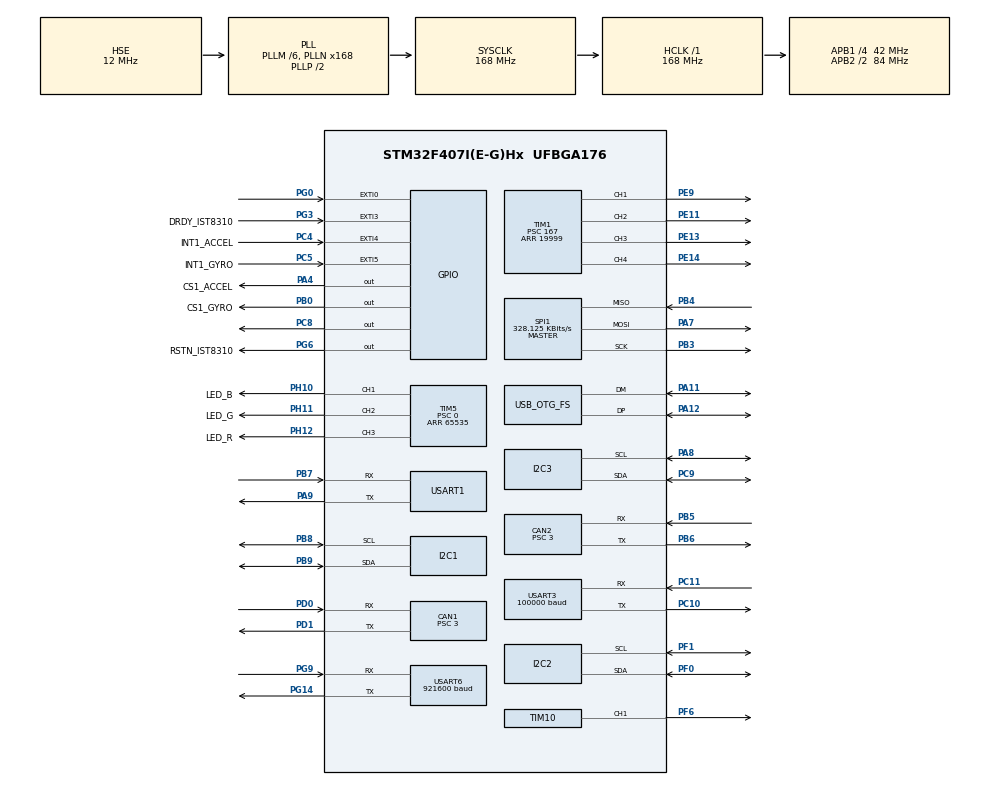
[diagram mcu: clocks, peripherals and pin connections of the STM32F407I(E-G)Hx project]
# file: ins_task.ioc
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CAN1.BS1=CAN_BS1_10TQ
CAN1.BS2=CAN_BS2_3TQ
CAN1.CalculateBaudRate=1000000
CAN1.CalculateTimeBit=999.99
CAN1.CalculateTimeQuantum=71.42857142857143
CAN1.Prescaler=3
CAN2.BS1=CAN_BS1_10TQ
CAN2.BS2=CAN_BS2_3TQ
CAN2.CalculateBaudRate=1000000
CAN2.CalculateTimeBit=999.99
CAN2.CalculateTimeQuantum=71.42857142857143
CAN2.Prescaler=3
Dma.I2C2_TX.6.Direction=DMA_MEMORY_TO_PERIPH
Dma.I2C2_TX.6.FIFOMode=DMA_FIFOMODE_DISABLE
Dma.I2C2_TX.6.Instance=DMA1_Stream7
Dma.I2C2_TX.6.MemDataAlignment=DMA_MDATAALIGN_BYTE
Dma.I2C2_TX.6.MemInc=DMA_MINC_ENABLE
Dma.I2C2_TX.6.Mode=DMA_NORMAL
Dma.I2C2_TX.6.PeriphDataAlignment=DMA_PDATAALIGN_BYTE
Dma.I2C2_TX.6.PeriphInc=DMA_PINC_DISABLE
Dma.I2C2_TX.6.Priority=DMA_PRIORITY_HIGH
Dma.Request0=SPI1_RX
Dma.Request1=SPI1_TX
Dma.Request2=USART1_TX
Dma.Request3=USART3_RX
Dma.Request4=USART6_RX
Dma.Request5=USART6_TX
Dma.Request6=I2C2_TX
Dma.Request7=USART1_RX
Dma.SPI1_RX.0.Direction=DMA_PERIPH_TO_MEMORY
Dma.SPI1_RX.0.FIFOMode=DMA_FIFOMODE_DISABLE
Dma.SPI1_RX.0.Instance=DMA2_Stream2
Dma.SPI1_RX.0.MemDataAlignment=DMA_MDATAALIGN_BYTE
Dma.SPI1_RX.0.MemInc=DMA_MINC_ENABLE
Dma.SPI1_RX.0.Mode=DMA_NORMAL
Dma.SPI1_RX.0.PeriphDataAlignment=DMA_PDATAALIGN_BYTE
Dma.SPI1_RX.0.PeriphInc=DMA_PINC_DISABLE
Dma.SPI1_RX.0.Priority=DMA_PRIORITY_VERY_HIGH
Dma.SPI1_TX.1.Direction=DMA_MEMORY_TO_PERIPH
Dma.SPI1_TX.1.FIFOMode=DMA_FIFOMODE_DISABLE
Dma.SPI1_TX.1.Instance=DMA2_Stream3
Dma.SPI1_TX.1.MemDataAlignment=DMA_MDATAALIGN_BYTE
Dma.SPI1_TX.1.MemInc=DMA_MINC_ENABLE
Dma.SPI1_TX.1.Mode=DMA_NORMAL
Dma.SPI1_TX.1.PeriphDataAlignment=DMA_PDATAALIGN_BYTE
Dma.SPI1_TX.1.PeriphInc=DMA_PINC_DISABLE
Dma.SPI1_TX.1.Priority=DMA_PRIORITY_HIGH
Dma.USART1_RX.7.Direction=DMA_PERIPH_TO_MEMORY
Dma.USART1_RX.7.FIFOMode=DMA_FIFOMODE_DISABLE
Dma.USART1_RX.7.Instance=DMA2_Stream5
Dma.USART1_RX.7.MemDataAlignment=DMA_MDATAALIGN_BYTE
Dma.USART1_RX.7.MemInc=DMA_MINC_ENABLE
Dma.USART1_RX.7.Mode=DMA_NORMAL
Dma.USART1_RX.7.PeriphDataAlignment=DMA_PDATAALIGN_BYTE
Dma.USART1_RX.7.PeriphInc=DMA_PINC_DISABLE
Dma.USART1_RX.7.Priority=DMA_PRIORITY_MEDIUM
Dma.USART1_TX.2.Direction=DMA_MEMORY_TO_PERIPH
Dma.USART1_TX.2.FIFOMode=DMA_FIFOMODE_DISABLE
Dma.USART1_TX.2.Instance=DMA2_Stream7
Dma.USART1_TX.2.MemDataAlignment=DMA_MDATAALIGN_BYTE
Dma.USART1_TX.2.MemInc=DMA_MINC_ENABLE
Dma.USART1_TX.2.Mode=DMA_NORMAL
Dma.USART1_TX.2.PeriphDataAlignment=DMA_PDATAALIGN_BYTE
Dma.USART1_TX.2.PeriphInc=DMA_PINC_DISABLE
Dma.USART1_TX.2.Priority=DMA_PRIORITY_MEDIUM
Dma.USART3_RX.3.Direction=DMA_PERIPH_TO_MEMORY
Dma.USART3_RX.3.FIFOMode=DMA_FIFOMODE_DISABLE
Dma.USART3_RX.3.Instance=DMA1_Stream1
Dma.USART3_RX.3.MemDataAlignment=DMA_MDATAALIGN_BYTE
Dma.USART3_RX.3.MemInc=DMA_MINC_ENABLE
Dma.USART3_RX.3.Mode=DMA_NORMAL
Dma.USART3_RX.3.PeriphDataAlignment=DMA_PDATAALIGN_BYTE
Dma.USART3_RX.3.PeriphInc=DMA_PINC_DISABLE
Dma.USART3_RX.3.Priority=DMA_PRIORITY_HIGH
Dma.USART6_RX.4.Direction=DMA_PERIPH_TO_MEMORY
Dma.USART6_RX.4.FIFOMode=DMA_FIFOMODE_DISABLE
Dma.USART6_RX.4.Instance=DMA2_Stream1
Dma.USART6_RX.4.MemDataAlignment=DMA_MDATAALIGN_BYTE
Dma.USART6_RX.4.MemInc=DMA_MINC_ENABLE
Dma.USART6_RX.4.Mode=DMA_NORMAL
Dma.USART6_RX.4.PeriphDataAlignment=DMA_PDATAALIGN_BYTE
Dma.USART6_RX.4.PeriphInc=DMA_PINC_DISABLE
Dma.USART6_RX.4.Priority=DMA_PRIORITY_MEDIUM
Dma.USART6_TX.5.Direction=DMA_MEMORY_TO_PERIPH
Dma.USART6_TX.5.FIFOMode=DMA_FIFOMODE_DISABLE
Dma.USART6_TX.5.Instance=DMA2_Stream6
Dma.USART6_TX.5.MemDataAlignment=DMA_MDATAALIGN_BYTE
Dma.USART6_TX.5.MemInc=DMA_MINC_ENABLE
Dma.USART6_TX.5.Mode=DMA_NORMAL
Dma.USART6_TX.5.PeriphDataAlignment=DMA_PDATAALIGN_BYTE
Dma.USART6_TX.5.PeriphInc=DMA_PINC_DISABLE
Dma.USART6_TX.5.Priority=DMA_PRIORITY_MEDIUM
FREERTOS.INCLUDE_eTaskGetState=1
FREERTOS.INCLUDE_pcTaskGetTaskName=1
FREERTOS.INCLUDE_uxTaskGetStackHighWaterMark=1
FREERTOS.INCLUDE_vTaskCleanUpResources=1
FREERTOS.INCLUDE_vTaskDelayUntil=1
FREERTOS.INCLUDE_xEventGroupSetBitFromISR=1
FREERTOS.INCLUDE_xQueueGetMutexHolder=1
FREERTOS.INCLUDE_xSemaphoreGetMutexHolder=1
FREERTOS.INCLUDE_xTaskAbortDelay=1
FREERTOS.INCLUDE_xTaskGetCurrentTaskHandle=1
FREERTOS.INCLUDE_xTaskGetHandle=1
FREERTOS.INCLUDE_xTimerPendFunctionCall=1
FREERTOS.Tasks01=test,24,128,test_task,As weak,NULL,Dynamic,NULL,NULL
FREERTOS.configTOTAL_HEAP_SIZE=24576
I2C1.I2C_Mode=I2C_Fast
I2C2.I2C_Mode=I2C_Fast
I2C3.I2C_Mode=I2C_Fast
Mcu.Family=STM32F4
Mcu.Name=STM32F407I(E-G)Hx
Mcu.Package=UFBGA176
NVIC.CAN1_RX0_IRQn=true\:5\:0\:false\:false\:true\:true\:true\:true
NVIC.CAN2_RX0_IRQn=true\:5\:0\:false\:false\:true\:true\:true\:true
NVIC.DMA1_Stream1_IRQn=true\:5\:0\:false\:false\:true\:true\:false\:true
NVIC.DMA1_Stream7_IRQn=true\:5\:0\:false\:false\:true\:true\:false\:true
NVIC.DMA2_Stream1_IRQn=true\:5\:0\:false\:false\:true\:true\:false\:true
NVIC.DMA2_Stream2_IRQn=true\:5\:0\:true\:false\:false\:true\:false\:true
NVIC.DMA2_Stream3_IRQn=true\:5\:0\:true\:false\:false\:true\:false\:true
NVIC.DMA2_Stream5_IRQn=true\:5\:0\:false\:false\:true\:true\:false\:true
NVIC.DMA2_Stream6_IRQn=true\:5\:0\:false\:false\:true\:true\:false\:true
NVIC.DMA2_Stream7_IRQn=true\:5\:0\:false\:false\:true\:true\:false\:true
NVIC.EXTI0_IRQn=true\:6\:0\:true\:false\:true\:true\:true\:true
NVIC.EXTI3_IRQn=true\:5\:0\:true\:false\:true\:true\:true\:true
NVIC.EXTI4_IRQn=true\:5\:0\:true\:false\:true\:true\:true\:true
NVIC.EXTI9_5_IRQn=true\:5\:0\:true\:false\:true\:true\:true\:true
NVIC.OTG_FS_IRQn=true\:5\:0\:false\:false\:true\:true\:true\:true
NVIC.PriorityGroup=NVIC_PRIORITYGROUP_4
NVIC.TIM8_TRG_COM_TIM14_IRQn=true\:15\:0\:false\:false\:true\:false\:false\:true
NVIC.TimeBase=TIM8_TRG_COM_TIM14_IRQn
NVIC.TimeBaseIP=TIM14
NVIC.USART1_IRQn=true\:5\:0\:false\:false\:true\:true\:true\:true
NVIC.USART3_IRQn=true\:5\:0\:false\:false\:true\:true\:true\:true
NVIC.USART6_IRQn=true\:5\:0\:false\:false\:true\:true\:true\:true
PA11.Mode=Device_Only
PA11.Signal=USB_OTG_FS_DM
PA12.Mode=Device_Only
PA12.Signal=USB_OTG_FS_DP
PA13.Mode=Serial_Wire
PA13.Signal=SYS_JTMS-SWDIO
PA14.Mode=Serial_Wire
PA14.Signal=SYS_JTCK-SWCLK
PA4.GPIO_Label=CS1_ACCEL
PA4.GPIO_PuPd=GPIO_PULLUP
PA4.GPIO_Speed=GPIO_SPEED_FREQ_HIGH
PA4.PinState=GPIO_PIN_SET
PA4.Signal=GPIO_Output
PA7.GPIO_PuPd=GPIO_PULLUP
PA7.Mode=Full_Duplex_Master
PA7.Signal=SPI1_MOSI
PA8.GPIO_Pu=GPIO_PULLUP
PA8.Mode=I2C
PA8.Signal=I2C3_SCL
PA9.Mode=Asynchronous
PA9.Signal=USART1_TX
PB0.GPIO_Label=CS1_GYRO
PB0.GPIO_PuPd=GPIO_PULLUP
PB0.GPIO_Speed=GPIO_SPEED_FREQ_HIGH
PB0.PinState=GPIO_PIN_SET
PB0.Signal=GPIO_Output
PB3.GPIO_PuPd=GPIO_PULLUP
PB3.Mode=Full_Duplex_Master
PB3.Signal=SPI1_SCK
PB4.GPIO_PuPd=GPIO_PULLUP
PB4.Mode=Full_Duplex_Master
PB4.Signal=SPI1_MISO
PB5.Mode=CAN_Activate
PB5.Signal=CAN2_RX
PB6.Mode=CAN_Activate
PB6.Signal=CAN2_TX
PB7.Mode=Asynchronous
PB7.Signal=USART1_RX
PB8.GPIO_Pu=GPIO_PULLUP
PB8.Mode=I2C
PB8.Signal=I2C1_SCL
PB9.GPIO_Pu=GPIO_PULLUP
PB9.Mode=I2C
PB9.Signal=I2C1_SDA
PC10.Mode=Asynchronous
PC10.Signal=USART3_TX
PC11.Mode=Asynchronous
PC11.Signal=USART3_RX
PC4.GPIO_Label=INT1_ACCEL
PC4.GPIO_ModeDefaultEXTI=GPIO_MODE_IT_FALLING
PC4.GPIO_PuPd=GPIO_PULLUP
PC4.Signal=GPXTI4
PC5.GPIO_Label=INT1_GYRO
PC5.GPIO_ModeDefaultEXTI=GPIO_MODE_IT_FALLING
PC5.GPIO_PuPd=GPIO_PULLUP
PC5.Signal=GPXTI5
PC8.Signal=GPIO_Output
PC9.GPIO_Pu=GPIO_PULLUP
PC9.Mode=I2C
PC9.Signal=I2C3_SDA
PD0.Mode=CAN_Activate
PD0.Signal=CAN1_RX
PD1.Mode=CAN_Activate
PD1.Signal=CAN1_TX
PE11.GPIO_Speed=GPIO_SPEED_FREQ_HIGH
PE11.Signal=S_TIM1_CH2
PE13.Signal=S_TIM1_CH3
PE14.Signal=S_TIM1_CH4
PE9.GPIO_Speed=GPIO_SPEED_FREQ_HIGH
PE9.Signal=S_TIM1_CH1
PF0.GPIO_Pu=GPIO_PULLUP
PF0.Mode=I2C
PF0.Signal=I2C2_SDA
PF1.GPIO_Pu=GPIO_PULLUP
PF1.Mode=I2C
PF1.Signal=I2C2_SCL
PF6.GPIO_PuPd=GPIO_PULLUP
PF6.GPIO_Speed=GPIO_SPEED_FREQ_HIGH
PF6.Signal=S_TIM10_CH1
PG0.GPIO_ModeDefaultEXTI=GPIO_MODE_IT_FALLING
PG0.GPIO_PuPd=GPIO_PULLUP
PG0.Signal=GPXTI0
PG14.Mode=Asynchronous
PG14.Signal=USART6_TX
PG3.GPIO_Label=DRDY_IST8310
PG3.GPIO_ModeDefaultEXTI=GPIO_MODE_IT_FALLING
PG3.GPIO_PuPd=GPIO_PULLUP
PG3.Signal=GPXTI3
PG6.GPIO_Label=RSTN_IST8310
PG6.GPIO_PuPd=GPIO_PULLUP
PG6.GPIO_Speed=GPIO_SPEED_FREQ_MEDIUM
PG6.PinState=GPIO_PIN_SET
PG6.Signal=GPIO_Output
PG9.Mode=Asynchronous
PG9.Signal=USART6_RX
PH0-OSC_IN.Mode=HSE-External-Oscillator
PH0-OSC_IN.Signal=RCC_OSC_IN
PH1-OSC_OUT.Mode=HSE-External-Oscillator
PH1-OSC_OUT.Signal=RCC_OSC_OUT
PH10.GPIO_Label=LED_B
PH10.GPIO_PuPd=GPIO_PULLUP
PH10.GPIO_Speed=GPIO_SPEED_FREQ_HIGH
PH10.Signal=S_TIM5_CH1
PH11.GPIO_Label=LED_G
PH11.GPIO_PuPd=GPIO_PULLUP
PH11.GPIO_Speed=GPIO_SPEED_FREQ_HIGH
PH11.Signal=S_TIM5_CH2
PH12.GPIO_Label=LED_R
PH12.GPIO_PuPd=GPIO_PULLUP
PH12.GPIO_Speed=GPIO_SPEED_FREQ_HIGH
PH12.Signal=S_TIM5_CH3
ProjectManager.HeapSize=0x2000
ProjectManager.StackSize=0x2000
ProjectManager.TargetToolchain=MDK-ARM V5
RCC.48MHZClocksFreq_Value=48000000
RCC.AHBFreq_Value=168000000
RCC.APB1CLKDivider=RCC_HCLK_DIV4
RCC.APB1Freq_Value=42000000
RCC.APB1TimFreq_Value=84000000
RCC.APB2CLKDivider=RCC_HCLK_DIV2
RCC.APB2Freq_Value=84000000
RCC.APB2TimFreq_Value=168000000
RCC.CortexFreq_Value=168000000
RCC.HCLKFreq_Value=168000000
RCC.HSE_VALUE=12000000
RCC.HSI_VALUE=16000000
RCC.LSE_VALUE=32768
RCC.PLLM=6
RCC.PLLN=168
RCC.PLLQ=7
RCC.RCC_RTC_Clock_SourceVirtual=RCC_RTCCLKSOURCE_HSE_DIV30
RCC.RCC_RTC_Clock_Source_FROM_HSE=RCC_RTCCLKSOURCE_HSE_DIV30
RCC.SYSCLKFreq_VALUE=168000000
RCC.SYSCLKSource=RCC_SYSCLKSOURCE_PLLCLK
RCC.VCOOutputFreq_Value=336000000
SH.S_TIM10_CH1.0=TIM10_CH1,PWM Generation1 CH1
SH.S_TIM1_CH1.0=TIM1_CH1,PWM Generation1 CH1
SH.S_TIM1_CH2.0=TIM1_CH2,PWM Generation2 CH2
SH.S_TIM1_CH3.0=TIM1_CH3,PWM Generation3 CH3
SH.S_TIM1_CH4.0=TIM1_CH4,PWM Generation4 CH4
SH.S_TIM5_CH1.0=TIM5_CH1,PWM Generation1 CH1
SH.S_TIM5_CH2.0=TIM5_CH2,PWM Generation2 CH2
SH.S_TIM5_CH3.0=TIM5_CH3,PWM Generation3 CH3
SPI1.BaudRatePrescaler=SPI_BAUDRATEPRESCALER_256
SPI1.CLKPhase=SPI_PHASE_2EDGE
SPI1.CLKPolarity=SPI_POLARITY_HIGH
SPI1.CalculateBaudRate=328.125 KBits/s
SPI1.Direction=SPI_DIRECTION_2LINES
SPI1.Mode=SPI_MODE_MASTER
SPI1.VirtualType=VM_MASTER
TIM1.Channel-PWM\ Generation1\ CH1=TIM_CHANNEL_1
TIM1.Channel-PWM\ Generation2\ CH2=TIM_CHANNEL_2
TIM1.Channel-PWM\ Generation3\ CH3=TIM_CHANNEL_3
TIM1.Channel-PWM\ Generation4\ CH4=TIM_CHANNEL_4
TIM1.Period=19999
TIM1.Prescaler=167
TIM1.Pulse-PWM\ Generation1\ CH1=1000
TIM1.Pulse-PWM\ Generation2\ CH2=1000
TIM1.Pulse-PWM\ Generation3\ CH3=1000
TIM1.Pulse-PWM\ Generation4\ CH4=1000
TIM10.Channel=TIM_CHANNEL_1
TIM10.Period=4999
TIM5.Channel-PWM\ Generation1\ CH1=TIM_CHANNEL_1
TIM5.Channel-PWM\ Generation2\ CH2=TIM_CHANNEL_2
TIM5.Channel-PWM\ Generation3\ CH3=TIM_CHANNEL_3
TIM5.Period=65535
TIM5.Prescaler=0
USART1.VirtualMode=VM_ASYNC
USART3.BaudRate=100000
USART3.Parity=PARITY_EVEN
USART3.VirtualMode=VM_ASYNC
USART6.BaudRate=921600
USART6.VirtualMode=VM_ASYNC
USB_DEVICE.CLASS_NAME_FS=CDC
USB_DEVICE.VirtualMode-CDC_FS=Cdc
USB_DEVICE.VirtualModeFS=Cdc_FS
USB_OTG_FS.VirtualMode=Device_Only
VP_CRC_VS_CRC.Mode=CRC_Activate
VP_FREERTOS_VS_CMSIS_V1.Mode=CMSIS_V1
VP_SYS_VS_tim14.Mode=TIM14
VP_TIM10_VS_ClockSourceINT.Mode=Enable_Timer
VP_TIM1_VS_ClockSourceINT.Mode=Internal
VP_TIM5_VS_ClockSourceINT.Mode=Internal
VP_USB_DEVICE_VS_USB_DEVICE_CDC_FS.Mode=CDC_FS
board=custom

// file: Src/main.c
/* USER CODE BEGIN Header */
/**
  ******************************************************************************
  * @file           : main.c
  * @brief          : Main program body
  ******************************************************************************
  * @attention
  *
  * <h2><center>&copy; Copyright (c) 2019 STMicroelectronics.
  * All rights reserved.</center></h2>
  *
  * This software component is licensed by ST under Ultimate Liberty license
  * SLA0044, the "License"; You may not use this file except in compliance with
  * the License. You may obtain a copy of the License at:
  *                             www.st.com/SLA0044
  *
  ******************************************************************************
  */
/* USER CODE END Header */
#include "main.h"
#include "cmsis_os.h"
#include "can.h"
#include "crc.h"
#include "dma.h"
#include "i2c.h"
#include "spi.h"
#include "tim.h"
#include "usart.h"
#include "usb_device.h"
#include "gpio.h"

/* USER CODE BEGIN Includes */
#include "bsp_delay.h"
#include "INS_task.h"
#include "bsp_can.h"
#include "CAN_receive.h"
#include "pid.h"
#include "MOTOR_ANGLE_PID.h"
#include "remote_control.h"
#include "bsp_usart.h"
#include "referee.h"
#include "nlink_tofsense_frame0.h"
#include "nlink_utils.h"
#include "protocol.h"
#include "decoder.h"
/* USER CODE END Includes */

void SystemClock_Config(void);
void MX_FREERTOS_Init(void);

int main(void)
{

  /* MCU Configuration--------------------------------------------------------*/

  /* Reset of all peripherals, Initializes the Flash interface and the Systick. */
  HAL_Init();

  /* Configure the system clock */
  SystemClock_Config();

  /* Initialize all configured peripherals */
  MX_GPIO_Init();
  MX_DMA_Init();
  MX_SPI1_Init();
  MX_TIM5_Init();
  MX_I2C3_Init();
  MX_TIM10_Init();
  MX_CAN1_Init();
  MX_CAN2_Init();
  MX_USART1_UART_Init();
  MX_USART3_UART_Init();
  MX_USART6_UART_Init();
  MX_I2C1_Init();
  MX_I2C2_Init();
  MX_CRC_Init();
  MX_TIM1_Init();
  /* USER CODE BEGIN 2 */
    delay_init();
		can_filter_init();
		remote_control_init();
		usart1_tx_dma_init();
	/* 开启空闲中断 */

	HAL_UART_Receive_DMA(&huart1, (uint8_t *)data_buffer_A, 128);
	__HAL_UART_ENABLE_IT(&huart6, UART_IT_IDLE);
	HAL_UART_Receive_DMA(&huart6, (uint8_t *)u_rx_buf ,16);     //action的数据接收

  /* USER CODE END 2 */

  /* Call init function for freertos objects (in freertos.c) */
  MX_FREERTOS_Init();
  /* Start scheduler */
  osKernelStart();

  /* We should never get here as control is now taken by the scheduler */
  /* Infinite loop */
  while (1)
  {

    /* USER CODE BEGIN 3 */
		__HAL_TIM_SET_COMPARE(&htim1,TIM_CHANNEL_2,1000);

	}
  /* USER CODE END 3 */
}

void SystemClock_Config(void)
{
  RCC_OscInitTypeDef RCC_OscInitStruct = {0};
  RCC_ClkInitTypeDef RCC_ClkInitStruct = {0};

  /** Configure the main internal regulator output voltage
  */
  __HAL_RCC_PWR_CLK_ENABLE();
  __HAL_PWR_VOLTAGESCALING_CONFIG(PWR_REGULATOR_VOLTAGE_SCALE1);
  /** Initializes the RCC Oscillators according to the specified parameters
  * in the RCC_OscInitTypeDef structure.
  */
  RCC_OscInitStruct.OscillatorType = RCC_OSCILLATORTYPE_HSE;
  RCC_OscInitStruct.HSEState = RCC_HSE_ON;
  RCC_OscInitStruct.PLL.PLLState = RCC_PLL_ON;
  RCC_OscInitStruct.PLL.PLLSource = RCC_PLLSOURCE_HSE;
  RCC_OscInitStruct.PLL.PLLM = 6;
  RCC_OscInitStruct.PLL.PLLN = 168;
  RCC_OscInitStruct.PLL.PLLP = RCC_PLLP_DIV2;
  RCC_OscInitStruct.PLL.PLLQ = 7;
  if (HAL_RCC_OscConfig(&RCC_OscInitStruct) != HAL_OK)
  {
    Error_Handler();
  }
  /** Initializes the CPU, AHB and APB buses clocks
  */
  RCC_ClkInitStruct.ClockType = RCC_CLOCKTYPE_HCLK|RCC_CLOCKTYPE_SYSCLK
                              |RCC_CLOCKTYPE_PCLK1|RCC_CLOCKTYPE_PCLK2;
  RCC_ClkInitStruct.SYSCLKSource = RCC_SYSCLKSOURCE_PLLCLK;
  RCC_ClkInitStruct.AHBCLKDivider = RCC_SYSCLK_DIV1;
  RCC_ClkInitStruct.APB1CLKDivider = RCC_HCLK_DIV4;
  RCC_ClkInitStruct.APB2CLKDivider = RCC_HCLK_DIV2;

  if (HAL_RCC_ClockConfig(&RCC_ClkInitStruct, FLASH_LATENCY_5) != HAL_OK)
  {
    Error_Handler();
  }
}

void HAL_TIM_PeriodElapsedCallback(TIM_HandleTypeDef *htim)
{
  if (htim->Instance == TIM14) {
    HAL_IncTick();
  }
}

void Error_Handler(void)
{
}

/************************ (C) COPYRIGHT STMicroelectronics *****END OF FILE****/

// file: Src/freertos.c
/* USER CODE BEGIN Header */
/**
  ******************************************************************************
  * File Name          : freertos.c
  * Description        : Code for freertos applications
  ******************************************************************************
  * @attention
  *
  * <h2><center>&copy; Copyright (c) 2019 STMicroelectronics.
  * All rights reserved.</center></h2>
  *
  * This software component is licensed by ST under Ultimate Liberty license
  * SLA0044, the "License"; You may not use this file except in compliance with
  * the License. You may obtain a copy of the License at:
  *                             www.st.com/SLA0044
  *
  ******************************************************************************
  */
/* USER CODE END Header */

#include "FreeRTOS.h"
#include "task.h"
#include "main.h"
#include "cmsis_os.h"

/* USER CODE BEGIN Includes */

#include "INS_task.h"
#include "led_flow_task.h"
#include "chassic_task.h"
#include "gimbal_task.h"
#include "shoot_task.h"
#include "usb_task.h"

#include "communicate_task.h"
/* USER CODE END Includes */

/* USER CODE BEGIN PTD */

osThreadId imuTaskHandle;
osThreadId led_RGB_flow_handle;
/* USER CODE END PTD */

/* USER CODE BEGIN PD */
osThreadId chassicHandle;
osThreadId gambalHandle;
osThreadId shootHandle;
osThreadId usb_task_handle;

osThreadId communicateHandle;

/* USER CODE END PD */

osThreadId testHandle;

void test_task(void const * argument);

extern void MX_USB_DEVICE_Init(void);
void MX_FREERTOS_Init(void); /* (MISRA C 2004 rule 8.1) */

/* GetIdleTaskMemory prototype (linked to static allocation support) */
void vApplicationGetIdleTaskMemory( StaticTask_t **ppxIdleTaskTCBBuffer, StackType_t **ppxIdleTaskStackBuffer, uint32_t *pulIdleTaskStackSize );

/* GetTimerTaskMemory prototype (linked to static allocation support) */
void vApplicationGetTimerTaskMemory( StaticTask_t **ppxTimerTaskTCBBuffer, StackType_t **ppxTimerTaskStackBuffer, uint32_t *pulTimerTaskStackSize );

/* USER CODE BEGIN GET_IDLE_TASK_MEMORY */
static StaticTask_t xIdleTaskTCBBuffer;
static StackType_t xIdleStack[configMINIMAL_STACK_SIZE];

void vApplicationGetIdleTaskMemory( StaticTask_t **ppxIdleTaskTCBBuffer, StackType_t **ppxIdleTaskStackBuffer, uint32_t *pulIdleTaskStackSize )
{
  *ppxIdleTaskTCBBuffer = &xIdleTaskTCBBuffer;
  *ppxIdleTaskStackBuffer = &xIdleStack[0];
  *pulIdleTaskStackSize = configMINIMAL_STACK_SIZE;
  /* place for user code */
}
/* USER CODE END GET_IDLE_TASK_MEMORY */

/* USER CODE BEGIN GET_TIMER_TASK_MEMORY */
static StaticTask_t xTimerTaskTCBBuffer;
static StackType_t xTimerStack[configTIMER_TASK_STACK_DEPTH];

void vApplicationGetTimerTaskMemory( StaticTask_t **ppxTimerTaskTCBBuffer, StackType_t **ppxTimerTaskStackBuffer, uint32_t *pulTimerTaskStackSize )
{
  *ppxTimerTaskTCBBuffer = &xTimerTaskTCBBuffer;
  *ppxTimerTaskStackBuffer = &xTimerStack[0];
  *pulTimerTaskStackSize = configTIMER_TASK_STACK_DEPTH;
  /* place for user code */
}
/* USER CODE END GET_TIMER_TASK_MEMORY */

void MX_FREERTOS_Init(void) {

  /* Create the thread(s) */
  /* definition and creation of test */
  osThreadDef(test, test_task, osPriorityNormal, 0, 128);
  testHandle = osThreadCreate(osThread(test), NULL);

  /* USER CODE BEGIN RTOS_THREADS */
  /* add threads, ... */
	osThreadDef(imuTask, INS_task, osPriorityRealtime, 0, 1024);
	imuTaskHandle = osThreadCreate(osThread(imuTask), NULL);

	osThreadDef(led, led_RGB_flow_task, osPriorityNormal, 0, 256);
	led_RGB_flow_handle = osThreadCreate(osThread(led), NULL);

	osThreadDef(gimbalTask, gimbal_task, osPriorityRealtime, 0, 1024);
  gambalHandle = osThreadCreate(osThread(gimbalTask), NULL);

	osThreadDef(ChassisTask, chassic_task, osPriorityAboveNormal, 0, 512);
  chassicHandle = osThreadCreate(osThread(ChassisTask), NULL);

	osThreadDef(shoot, shoot_task, osPriorityNormal, 0, 128);
  shootHandle = osThreadCreate(osThread(shoot), NULL);

	osThreadDef(USBTask, usb_task, osPriorityNormal, 0, 1024);
	usb_task_handle = osThreadCreate(osThread(USBTask), NULL);

  osThreadDef(communicate, communicate_task, osPriorityIdle, 0, 128);
  communicateHandle = osThreadCreate(osThread(communicate), NULL);

  /* USER CODE END RTOS_THREADS */

}

__weak void test_task(void const * argument)
{
  /* init code for USB_DEVICE */
  MX_USB_DEVICE_Init();
  for(;;)
  {
    osDelay(1);
  }
}

/************************ (C) COPYRIGHT STMicroelectronics *****END OF FILE****/
